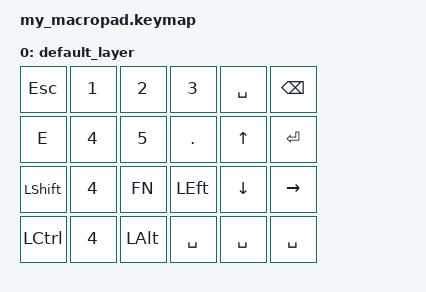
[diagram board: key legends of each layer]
#include <behaviors.dtsi>
#include <dt-bindings/zmk/keys.h>

/ {
    keymap {
        compatible = "zmk,keymap";

        default_layer {
            bindings = <
                &kp ESC    &kp N1  &kp N2   &kp N3    &kp SPACE &kp BACKSPACE
                &kp E      &kp N4  &kp N5   &kp DOT   &kp UP    &kp ENTER
                &kp LSHIFT &kp N4  &kp FN   &kp LEft  &kp DOWN  &kp RIGHT
                &kp LCTRL  &kp N4  &kp LALT &kp SPACE &kp SPACE &kp SPACE
            >;
        };
    };
};
